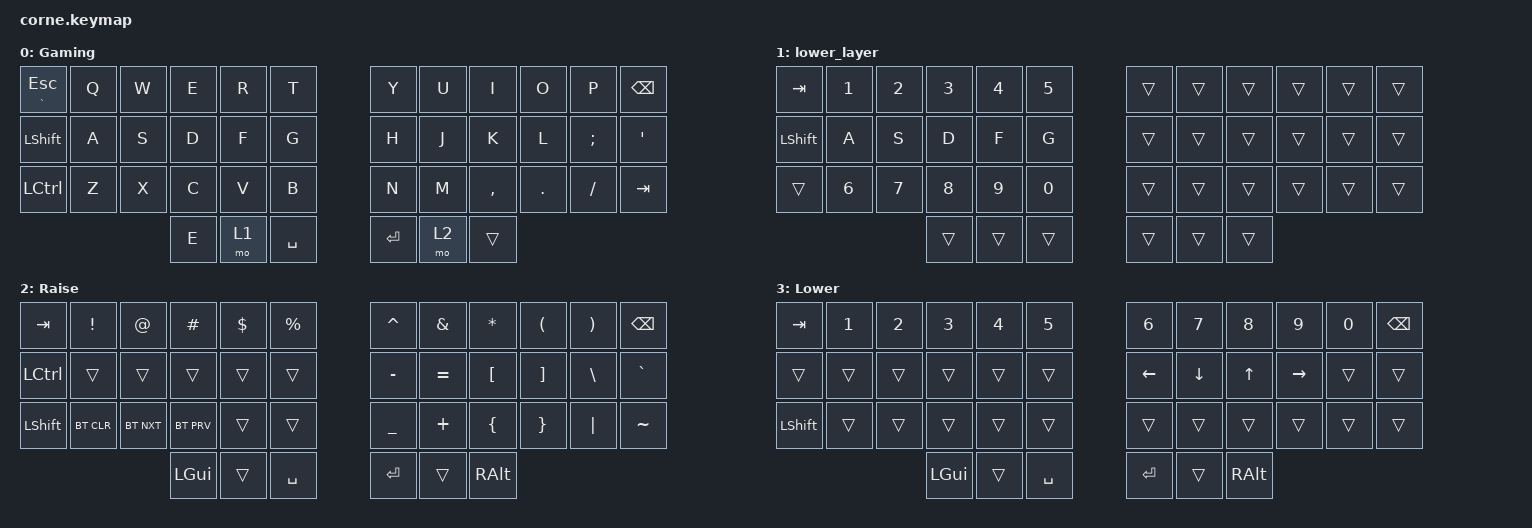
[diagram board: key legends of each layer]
/*
 * Copyright (c) 2020 The ZMK Contributors
 *
 * SPDX-License-Identifier: MIT
 */

#include <behaviors.dtsi>
#include <dt-bindings/zmk/bt.h>
#include <dt-bindings/zmk/keys.h>

/ {
    keymap {
        compatible = "zmk,keymap";

        Gaming {
            bindings = <
&mt GRAVE ESC  &kp Q  &kp W  &kp E  &kp R  &kp T        &kp Y      &kp U  &kp I      &kp O    &kp P     &kp BSPC
&kp LSHFT      &kp A  &kp S  &kp D  &kp F  &kp G        &kp H      &kp J  &kp K      &kp L    &kp SEMI  &kp APOS
&kp LCTRL      &kp Z  &kp X  &kp C  &kp V  &kp B        &kp N      &kp M  &kp COMMA  &kp DOT  &kp FSLH  &kp TAB
                             &kp E  &mo 1  &kp SPACE    &kp ENTER  &mo 2  &trans
            >;
        };

        lower_layer {
            bindings = <
&kp TAB         &kp N1  &kp N2  &kp N3  &kp N4  &kp N5    &trans  &trans  &trans  &trans  &trans  &trans
&kp LEFT_SHIFT  &kp A   &kp S   &kp D   &kp F   &kp G     &trans  &trans  &trans  &trans  &trans  &trans
&trans          &kp N6  &kp N7  &kp N8  &kp N9  &kp N0    &trans  &trans  &trans  &trans  &trans  &trans
                                &trans  &trans  &trans    &trans  &trans  &trans
            >;
        };

        raise_layer {
            // -----------------------------------------------------------------------------------------
            // |  TAB |  !  |  @  |  #  |  $  |  %  |   |  ^  |  &  |  *  |  (  |  )  | BKSP |
            // | CTRL |     |     |     |     |     |   |  -  |  =  |  [  |  ]  |  \  |  `   |
            // | SHFT |     |     |     |     |     |   |  _  |  +  |  {  |  }  | "|" |  ~   |
            //                    | GUI |     | SPC |   | ENT |     | ALT |

            display-name = "Raise";
            bindings = <
&kp TAB    &kp EXCL    &kp AT      &kp HASH    &kp DLLR  &kp PRCNT    &kp CARET  &kp AMPS   &kp ASTRK  &kp LPAR  &kp RPAR  &kp BSPC
&kp LCTRL  &trans      &trans      &trans      &trans    &trans       &kp MINUS  &kp EQUAL  &kp LBKT   &kp RBKT  &kp BSLH  &kp GRAVE
&kp LSHFT  &bt BT_CLR  &bt BT_NXT  &bt BT_PRV  &trans    &trans       &kp UNDER  &kp PLUS   &kp LBRC   &kp RBRC  &kp PIPE  &kp TILDE
                                   &kp LGUI    &trans    &kp SPACE    &kp RET    &trans     &kp RALT
            >;
        };

        Function_unbound {
            // -----------------------------------------------------------------------------------------
            // |  TAB |  1  |  2  |  3  |  4  |  5  |   |  6  |  7  |  8  |  9  |  0  | BKSP |
            // | BTCLR| BT1 | BT2 | BT3 | BT4 | BT5 |   | LFT | DWN |  UP | RGT |     |      |
            // | SHFT |     |     |     |     |     |   |     |     |     |     |     |      |
            //                    | GUI |     | SPC |   | ENT |     | ALT |

            display-name = "Lower";
            bindings = <
&kp TAB    &kp N1  &kp N2  &kp N3    &kp N4  &kp N5       &kp N6    &kp N7    &kp N8    &kp N9     &kp N0  &kp BSPC
&trans     &trans  &trans  &trans    &trans  &trans       &kp LEFT  &kp DOWN  &kp UP    &kp RIGHT  &trans  &trans
&kp LSHFT  &trans  &trans  &trans    &trans  &trans       &trans    &trans    &trans    &trans     &trans  &trans
                           &kp LGUI  &trans  &kp SPACE    &kp RET   &trans    &kp RALT
            >;
        };
    };
};
